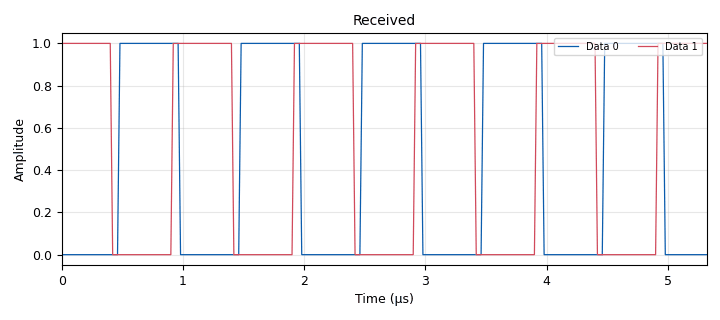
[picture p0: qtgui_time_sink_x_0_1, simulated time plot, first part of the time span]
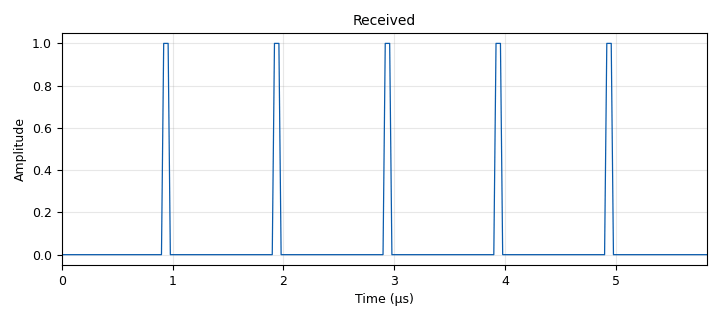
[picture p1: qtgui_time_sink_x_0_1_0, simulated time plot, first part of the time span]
<?xml version='1.0' encoding='utf-8'?>
<?grc format='1' created='3.7.10'?>
<flow_graph>
<block>
<key>options</key>
<param><key>id</key><value>top_block</value></param>
<param><key>generate_options</key><value>qt_gui</value></param>
</block>
<block>
<key>variable</key>
<param><key>id</key><value>delay</value></param>
<param><key>value</key><value>14</value></param>
</block>
<block>
<key>variable</key>
<param><key>id</key><value>distance</value></param>
<param><key>value</key><value>1e3</value></param>
</block>
<block>
<key>variable</key>
<param><key>id</key><value>frequency</value></param>
<param><key>value</key><value>1e6</value></param>
</block>
<block>
<key>variable</key>
<param><key>id</key><value>processing_rate</value></param>
<param><key>value</key><value>320000</value></param>
</block>
<block>
<key>variable</key>
<param><key>id</key><value>samp_rate</value></param>
<param><key>value</key><value>50e6</value></param>
</block>
<block>
<key>analog_sig_source_x</key>
<param><key>id</key><value>analog_sig_source_x_0</value></param>
<param><key>amp</key><value>1</value></param>
<param><key>freq</key><value>frequency</value></param>
<param><key>offset</key><value>0</value></param>
<param><key>type</key><value>complex</value></param>
<param><key>samp_rate</key><value>samp_rate</value></param>
<param><key>waveform</key><value>analog.GR_SQR_WAVE</value></param>
</block>
<block>
<key>blocks_complex_to_float</key>
<param><key>id</key><value>blocks_complex_to_float_0</value></param>
</block>
<block>
<key>blocks_complex_to_float</key>
<param><key>id</key><value>blocks_complex_to_float_0_0</value></param>
</block>
<block>
<key>blocks_delay</key>
<param><key>id</key><value>blocks_delay_0</value></param>
<param><key>delay</key><value>delay</value></param>
<param><key>type</key><value>complex</value></param>
</block>
<block>
<key>blocks_delay</key>
<param><key>id</key><value>blocks_delay_0_0</value></param>
<param><key>delay</key><value>delay</value></param>
<param><key>type</key><value>complex</value></param>
</block>
<block>
<key>blocks_multiply_xx</key>
<param><key>id</key><value>blocks_multiply_xx_0</value></param>
<param><key>type</key><value>float</value></param>
</block>
<block>
<key>blocks_throttle</key>
<param><key>id</key><value>blocks_throttle_0</value></param>
<param><key>samples_per_second</key><value>processing_rate</value></param>
<param><key>type</key><value>complex</value></param>
</block>
<block>
<key>channels_channel_model</key>
<param><key>id</key><value>channels_channel_model_0</value></param>
<param><key>epsilon</key><value>1.0</value></param>
<param><key>freq_offset</key><value>0.0</value></param>
<param><key>noise_voltage</key><value>1e-15</value></param>
<param><key>seed</key><value>5555</value></param>
<param><key>taps</key><value>1.0</value></param>
</block>
<block>
<key>channels_channel_model</key>
<param><key>id</key><value>channels_channel_model_0_0</value></param>
<param><key>epsilon</key><value>1.0</value></param>
<param><key>freq_offset</key><value>0.0</value></param>
<param><key>noise_voltage</key><value>1e-15</value></param>
<param><key>seed</key><value>5555</value></param>
<param><key>taps</key><value>1.0</value></param>
</block>
<block>
<key>epy_block</key>
<param><key>id</key><value>epy_block_0</value></param>
<param><key>_source_code</key><value>import numpy as np
import scipy.constants as spc
from gnuradio import gr


class blk(gr.sync_block):  # other base classes are basic_block, decim_block, interp_block
    """
    FTE - scales input signal appropriately for Friis Transmission Equation

        P_r = P_t * G_t * G_r * (C / (4 * PI * d * f))^2

        f -&gt; frequency in hertz
        d -&gt; distance in meters
    """

    def __init__(self, frequency=1.0, distance=1.0, g_t=1.0, g_r=1.0):
        """arguments to this function show up as parameters in GRC"""
        gr.sync_block.__init__(
            self,
            name='FTE Block',   # will show up in GRC
            in_sig=[np.complex64],
            out_sig=[np.complex64]
        )
        # if an attribute with the same name as a parameter is found,
        # a callback is registered (properties work, too).
        self.frequency = np.float64(frequency)
        self.distance = np.float64(distance)
        self.g_t = np.float64(g_t)
        self.g_r = np.float64(g_r)
	self.scale = self.fte()

    def work(self, input_items, output_items):
        """example: multiply with constant"""
        output_items[0][:] = input_items[0] * self.scale
        return len(output_items[0])

    def fte(self):
	scale = spc.c / (np.float64(4.0) * spc.pi * self.distance * self.frequency)
        scale = scale ** np.float64(2.0)
	p_r = self.g_t * self.g_r * scale
	return p_r
</value></param>
<param><key>distance</key><value>distance</value></param>
<param><key>_enabled</key><value>2</value></param>
<param><key>frequency</key><value>915e6</value></param>
<param><key>g_r</key><value>1.0</value></param>
<param><key>g_t</key><value>1.0</value></param>
</block>
<block>
<key>epy_block</key>
<param><key>id</key><value>epy_block_0_0</value></param>
<param><key>_source_code</key><value>import numpy as np
import scipy.constants as spc
from gnuradio import gr


class blk(gr.sync_block):  # other base classes are basic_block, decim_block, interp_block
    """
    FTE - scales input signal appropriately for Friis Transmission Equation

        P_r = P_t * G_t * G_r * (C / (4 * PI * d * f))^2

        f -&gt; frequency in hertz
        d -&gt; distance in meters
    """

    def __init__(self, frequency=1.0, distance=1.0, g_t=1.0, g_r=1.0):
        """arguments to this function show up as parameters in GRC"""
        gr.sync_block.__init__(
            self,
            name='FTE Block',   # will show up in GRC
            in_sig=[np.complex64],
            out_sig=[np.complex64]
        )
        # if an attribute with the same name as a parameter is found,
        # a callback is registered (properties work, too).
        self.frequency = np.float64(frequency)
        self.distance = np.float64(distance)
        self.g_t = np.float64(g_t)
        self.g_r = np.float64(g_r)
	self.scale = self.fte()

    def work(self, input_items, output_items):
        """example: multiply with constant"""
        output_items[0][:] = input_items[0] * self.scale
        return len(output_items[0])

    def fte(self):
	scale = spc.c / (np.float64(4.0) * spc.pi * self.distance * self.frequency)
        scale = scale ** np.float64(2.0)
	p_r = self.g_t * self.g_r * scale
	return p_r
</value></param>
<param><key>distance</key><value>distance</value></param>
<param><key>_enabled</key><value>2</value></param>
<param><key>frequency</key><value>915e6</value></param>
<param><key>g_r</key><value>1.0</value></param>
<param><key>g_t</key><value>1.0</value></param>
</block>
<block>
<key>qtgui_time_sink_x</key>
<param><key>id</key><value>qtgui_time_sink_x_0_1</value></param>
<param><key>autoscale</key><value>True</value></param>
<param><key>color1</key><value>"blue"</value></param>
<param><key>label1</key><value></value></param>
<param><key>color2</key><value>"red"</value></param>
<param><key>label2</key><value></value></param>
<param><key>name</key><value>Received</value></param>
<param><key>nconnections</key><value>2</value></param>
<param><key>size</key><value>2048</value></param>
<param><key>srate</key><value>samp_rate</value></param>
<param><key>type</key><value>float</value></param>
<param><key>update_time</key><value>1</value></param>
</block>
<block>
<key>qtgui_time_sink_x</key>
<param><key>id</key><value>qtgui_time_sink_x_0_1_0</value></param>
<param><key>autoscale</key><value>True</value></param>
<param><key>color1</key><value>"blue"</value></param>
<param><key>label1</key><value></value></param>
<param><key>name</key><value>Received</value></param>
<param><key>size</key><value>2048</value></param>
<param><key>srate</key><value>samp_rate</value></param>
<param><key>type</key><value>float</value></param>
<param><key>update_time</key><value>1</value></param>
</block>
<connection><source_block_id>analog_sig_source_x_0</source_block_id><sink_block_id>blocks_complex_to_float_0</sink_block_id><source_key>0</source_key><sink_key>0</sink_key></connection>
<connection><source_block_id>analog_sig_source_x_0</source_block_id><sink_block_id>blocks_throttle_0</sink_block_id><source_key>0</source_key><sink_key>0</sink_key></connection>
<connection><source_block_id>blocks_complex_to_float_0</source_block_id><sink_block_id>blocks_multiply_xx_0</sink_block_id><source_key>0</source_key><sink_key>0</sink_key></connection>
<connection><source_block_id>blocks_complex_to_float_0</source_block_id><sink_block_id>qtgui_time_sink_x_0_1</sink_block_id><source_key>0</source_key><sink_key>0</sink_key></connection>
<connection><source_block_id>blocks_complex_to_float_0_0</source_block_id><sink_block_id>blocks_multiply_xx_0</sink_block_id><source_key>0</source_key><sink_key>1</sink_key></connection>
<connection><source_block_id>blocks_complex_to_float_0_0</source_block_id><sink_block_id>qtgui_time_sink_x_0_1</sink_block_id><source_key>0</source_key><sink_key>1</sink_key></connection>
<connection><source_block_id>blocks_delay_0</source_block_id><sink_block_id>epy_block_0_0</sink_block_id><source_key>0</source_key><sink_key>0</sink_key></connection>
<connection><source_block_id>blocks_delay_0_0</source_block_id><sink_block_id>blocks_complex_to_float_0_0</sink_block_id><source_key>0</source_key><sink_key>0</sink_key></connection>
<connection><source_block_id>blocks_multiply_xx_0</source_block_id><sink_block_id>qtgui_time_sink_x_0_1_0</sink_block_id><source_key>0</source_key><sink_key>0</sink_key></connection>
<connection><source_block_id>blocks_throttle_0</source_block_id><sink_block_id>epy_block_0</sink_block_id><source_key>0</source_key><sink_key>0</sink_key></connection>
<connection><source_block_id>channels_channel_model_0</source_block_id><sink_block_id>blocks_delay_0</sink_block_id><source_key>0</source_key><sink_key>0</sink_key></connection>
<connection><source_block_id>channels_channel_model_0_0</source_block_id><sink_block_id>blocks_delay_0_0</sink_block_id><source_key>0</source_key><sink_key>0</sink_key></connection>
<connection><source_block_id>epy_block_0</source_block_id><sink_block_id>channels_channel_model_0</sink_block_id><source_key>0</source_key><sink_key>0</sink_key></connection>
<connection><source_block_id>epy_block_0_0</source_block_id><sink_block_id>channels_channel_model_0_0</sink_block_id><source_key>0</source_key><sink_key>0</sink_key></connection>
</flow_graph>
